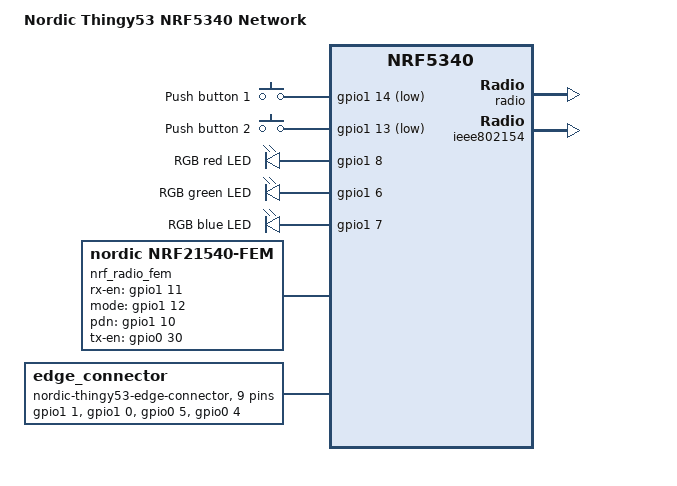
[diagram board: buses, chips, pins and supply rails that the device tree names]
/*
 * Copyright (c) 2021 Nordic Semiconductor ASA
 *
 * SPDX-License-Identifier: Apache-2.0
 */

/dts-v1/;
#include <nordic/nrf5340_cpunet_qkaa.dtsi>
#include "thingy53_nrf5340_cpunet-pinctrl.dtsi"
#include <zephyr/dt-bindings/input/input-event-codes.h>

/ {
	model = "Nordic Thingy53 NRF5340 Network";
	compatible = "nordic,thingy53-nrf5340-cpunet";

	chosen {
		zephyr,console = &uart0;
		zephyr,shell-uart = &uart0;
		zephyr,uart-mcumgr = &uart0;
		zephyr,bt-mon-uart = &uart0;
		zephyr,bt-c2h-uart = &uart0;
		zephyr,bt-hci-ipc = &ipc0;
		nordic,802154-spinel-ipc = &ipc0;
		zephyr,sram = &sram1;
		zephyr,flash = &flash1;
		zephyr,code-partition = &slot0_partition;
		zephyr,ieee802154 = &ieee802154;
	};

	buttons {
		compatible = "gpio-keys";
		button0: button_0 {
			gpios = <&gpio1 14 (GPIO_PULL_UP | GPIO_ACTIVE_LOW)>;
			label = "Push button 1";
			zephyr,code = <INPUT_KEY_0>;
		};
		button1: button_1 {
			gpios = <&gpio1 13 (GPIO_PULL_UP | GPIO_ACTIVE_LOW)>;
			label = "Push button 2";
			zephyr,code = <INPUT_KEY_1>;
		};
	};

	leds {
		compatible = "gpio-leds";
		red_led: led_1 {
			gpios = <&gpio1 8 (GPIO_PULL_DOWN | GPIO_ACTIVE_HIGH)>;
			label = "RGB red LED";
		};
		green_led: led_2 {
			gpios = <&gpio1 6 (GPIO_PULL_DOWN | GPIO_ACTIVE_HIGH)>;
			label = "RGB green LED";
		};
		blue_led: led_3 {
			gpios = <&gpio1 7 (GPIO_PULL_DOWN | GPIO_ACTIVE_HIGH)>;
			label = "RGB blue LED";
		};
	};

	nrf_radio_fem: fem {
		compatible = "nordic,nrf21540-fem";
		rx-en-gpios = <&gpio1 11 GPIO_ACTIVE_HIGH>;
		mode-gpios  = <&gpio1 12 GPIO_ACTIVE_HIGH>;
		pdn-gpios   = <&gpio1 10 GPIO_ACTIVE_HIGH>;
		tx-en-gpios = <&gpio0 30 GPIO_ACTIVE_HIGH>;
		spi-if = <&nrf_radio_fem_spi>;
		supply-voltage-mv = <3000>;
	};

	edge_connector: connector {
		compatible = "nordic-thingy53-edge-connector";
		#gpio-cells = <2>;
		gpio-map-mask = <0xffffffff 0xffffffc0>;
		gpio-map-pass-thru = <0 0x3f>;
		gpio-map = <5 0 &gpio1 1 0>,    /* P5, P1.01/GRANT */
			   <6 0 &gpio1 0 0>,    /* P6, P1.00/REQ */
			   <8 0 &gpio0 5 0>,	/* P8, P0.05/AIN1 */
			   <9 0 &gpio0 4 0>,	/* P9, P0.04/AIN0 */
			   <15 0 &gpio0 8 0>,	/* P15, P0.08/TRACEDATA3 */
			   <16 0 &gpio0 9 0>,	/* P16, P0.09/TRACEDATA2 */
			   <17 0 &gpio0 10 0>,	/* P17, P0.10/TRACEDATA1 */
			   <18 0 &gpio0 11 0>,	/* P18, P0.11/TRACEDATA0 */
			   <19 0 &gpio0 12 0>;	/* P19, P0.12/TRACECLK */
	};

	aliases {
		sw0 = &button0;
		sw1 = &button1;
		led0 = &red_led;
		led1 = &green_led;
		led2 = &blue_led;
		watchdog0 = &wdt;
	};
};

&gpiote {
	status = "okay";
};

&gpio0 {
	status = "okay";
};

&gpio1 {
	status = "okay";
};

&uart0 {
	compatible = "nordic,nrf-uarte";
	status = "disabled";
	current-speed = <115200>;
	pinctrl-0 = <&uart0_default>;
	pinctrl-1 = <&uart0_sleep>;
	pinctrl-names = "default", "sleep";
};

/* Disabled by default as shares same GPIO lines as SPI peripherals on application core */
fem_spi: &spi0 {
	status = "disabled";
	cs-gpios = <&gpio0 24 GPIO_ACTIVE_LOW>;
	pinctrl-0 = <&spi0_default>;
	pinctrl-1 = <&spi0_sleep>;
	pinctrl-names = "default", "sleep";

	nrf_radio_fem_spi: nrf21540_fem_spi@0 {
		compatible = "nordic,nrf21540-fem-spi";
		status = "disabled";
		reg = <0>;
		spi-max-frequency = <8000000>;
	};
};

&radio {
	/* Uncomment to enable SPI interface for FEM */
	/* fem = <&nrf_radio_fem>; */
};

&flash1 {

	partitions {
		compatible = "fixed-partitions";
		#address-cells = <1>;
		#size-cells = <1>;

		boot_partition: partition@0 {
			label = "mcuboot";
			reg = <0x00000000 0xc000>;
		};
		slot0_partition: partition@c000 {
			label = "image-0";
			reg = <0x0000C000 0x12000>;
		};
		slot1_partition: partition@1e000 {
			label = "image-1";
			reg = <0x0001E000 0x12000>;
		};
		scratch_partition: partition@30000 {
			label = "image-scratch";
			reg = <0x00030000 0xa000>;
		};
		storage_partition: partition@3a000 {
			label = "storage";
			reg = <0x0003a000 0x6000>;
		};
	};
};

&ieee802154 {
	status = "okay";
};

/* Include default shared RAM configuration file */
#include <common/nordic/nrf5340_shared_sram_partition.dtsi>
